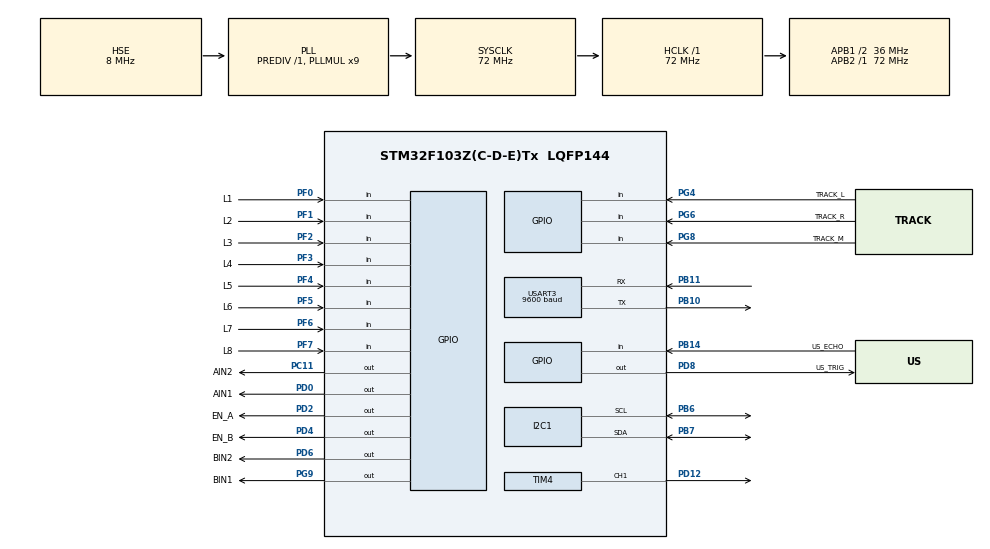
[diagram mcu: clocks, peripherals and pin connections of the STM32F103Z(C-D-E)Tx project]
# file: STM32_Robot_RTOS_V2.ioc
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FREERTOS.Queues01=BluetoothQueue,16,uint8_t,0,Dynamic,NULL,NULL
FREERTOS.Tasks01=Task_Motor,2,256,StartMotorTask,Default,NULL,Dynamic,NULL,NULL;Task_Logic,0,512,StartLogicTask,Default,NULL,Dynamic,NULL,NULL;Task_Com,-1,256,StartComTask,Default,NULL,Dynamic,NULL,NULL
FREERTOS.configTOTAL_HEAP_SIZE=20480
Mcu.Family=STM32F1
Mcu.Name=STM32F103Z(C-D-E)Tx
Mcu.Package=LQFP144
NVIC.PriorityGroup=NVIC_PRIORITYGROUP_4
NVIC.TIM6_IRQn=true\:5\:0\:false\:false\:true\:true\:true\:true\:true
NVIC.TIM7_IRQn=true\:15\:0\:false\:false\:true\:false\:false\:true\:true
NVIC.TimeBase=TIM7_IRQn
NVIC.TimeBaseIP=TIM7
NVIC.USART3_IRQn=true\:5\:0\:false\:false\:true\:true\:true\:true\:true
OSC_IN.Mode=HSE-External-Oscillator
OSC_IN.Signal=RCC_OSC_IN
OSC_OUT.Mode=HSE-External-Oscillator
OSC_OUT.Signal=RCC_OSC_OUT
PA13.Mode=Serial_Wire
PA13.Signal=SYS_JTMS-SWDIO
PA14.Mode=Serial_Wire
PA14.Signal=SYS_JTCK-SWCLK
PB10.Mode=Asynchronous
PB10.Signal=USART3_TX
PB11.Mode=Asynchronous
PB11.Signal=USART3_RX
PB14.GPIO_Label=US_ECHO
PB14.Signal=GPIO_Input
PB6.Mode=I2C
PB6.Signal=I2C1_SCL
PB7.Mode=I2C
PB7.Signal=I2C1_SDA
PC11.GPIO_Label=AIN2
PC11.Signal=GPIO_Output
PD0.GPIO_Label=AIN1
PD0.Signal=GPIO_Output
PD12.Signal=S_TIM4_CH1
PD2.GPIO_Label=EN_A
PD2.Signal=GPIO_Output
PD4.GPIO_Label=EN_B
PD4.Signal=GPIO_Output
PD6.GPIO_Label=BIN2
PD6.Signal=GPIO_Output
PD8.GPIO_Label=US_TRIG
PD8.Signal=GPIO_Output
PF0.GPIO_Label=L1
PF0.GPIO_PuPd=GPIO_PULLUP
PF0.Signal=GPIO_Input
PF1.GPIO_Label=L2
PF1.GPIO_PuPd=GPIO_PULLUP
PF1.Signal=GPIO_Input
PF2.GPIO_Label=L3
PF2.GPIO_PuPd=GPIO_PULLUP
PF2.Signal=GPIO_Input
PF3.GPIO_Label=L4
PF3.GPIO_PuPd=GPIO_PULLUP
PF3.Signal=GPIO_Input
PF4.GPIO_Label=L5
PF4.GPIO_PuPd=GPIO_PULLUP
PF4.Signal=GPIO_Input
PF5.GPIO_Label=L6
PF5.GPIO_PuPd=GPIO_PULLUP
PF5.Signal=GPIO_Input
PF6.GPIO_Label=L7
PF6.GPIO_PuPd=GPIO_PULLUP
PF6.Signal=GPIO_Input
PF7.GPIO_Label=L8
PF7.GPIO_PuPd=GPIO_PULLUP
PF7.Signal=GPIO_Input
PG4.GPIO_Label=TRACK_L
PG4.GPIO_PuPd=GPIO_PULLUP
PG4.Signal=GPIO_Input
PG6.GPIO_Label=TRACK_R
PG6.GPIO_PuPd=GPIO_PULLUP
PG6.Signal=GPIO_Input
PG8.GPIO_Label=TRACK_M
PG8.GPIO_PuPd=GPIO_PULLUP
PG8.Signal=GPIO_Input
PG9.GPIO_Label=BIN1
PG9.Signal=GPIO_Output
ProjectManager.HeapSize=0x200
ProjectManager.StackSize=0x400
ProjectManager.TargetToolchain=MDK-ARM V5.32
RCC.AHBFreq_Value=72000000
RCC.APB1CLKDivider=RCC_HCLK_DIV2
RCC.APB1Freq_Value=36000000
RCC.APB1TimFreq_Value=72000000
RCC.APB2Freq_Value=72000000
RCC.APB2TimFreq_Value=72000000
RCC.HCLKFreq_Value=72000000
RCC.PLLMUL=RCC_PLL_MUL9
RCC.PLLSourceVirtual=RCC_PLLSOURCE_HSE
RCC.SYSCLKFreq_VALUE=72000000
RCC.SYSCLKSource=RCC_SYSCLKSOURCE_PLLCLK
RCC.USBFreq_Value=72000000
SH.S_TIM4_CH1.0=TIM4_CH1,PWM Generation1 CH1
TIM2.Prescaler=71
TIM4.Channel-PWM\ Generation1\ CH1=TIM_CHANNEL_1
TIM4.Period=19999
TIM4.Prescaler=71
TIM6.Period=99
TIM6.Prescaler=71
USART3.BaudRate=9600
USART3.VirtualMode=VM_ASYNC
VP_FREERTOS_VS_CMSIS_V1.Mode=CMSIS_V1
VP_SYS_VS_tim7.Mode=TIM7
VP_TIM2_VS_ClockSourceINT.Mode=Internal
VP_TIM4_VS_ClockSourceINT.Mode=Internal
VP_TIM6_VS_ClockSourceINT.Mode=Enable_Timer
board=custom

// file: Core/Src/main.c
/* USER CODE BEGIN Header */
/**
  ******************************************************************************
  * @file           : main.c
  * @brief          : Main program body
  ******************************************************************************
  */
/* USER CODE END Header */
#include "main.h"
#include "cmsis_os.h"
#include "i2c.h"
#include "tim.h"
#include "usart.h"
#include "gpio.h"

/* USER CODE BEGIN PV */
// 定义 PWM 计数器和速度变量
volatile int pwm_count = 0;    // 计数器 0-100
volatile int speed_left = 0;   // 左轮速度 0-100
volatile int speed_right = 0;  // 右轮速度 0-100
extern volatile int car_mode;
uint8_t rx_data;
/* USER CODE END PV */

void SystemClock_Config(void);
void MX_FREERTOS_Init(void);

int main(void)
{

  /* MCU Configuration--------------------------------------------------------*/
  HAL_Init();

  /* Configure the system clock */
  SystemClock_Config();

  /* Initialize all configured peripherals */
  MX_GPIO_Init();
  MX_I2C1_Init();
  MX_TIM6_Init();
  MX_USART3_UART_Init();
  MX_TIM4_Init();
  MX_TIM2_Init();

  /* USER CODE BEGIN 2 */

  // ==========================================
  // 1. 启动基础定时器和蓝牙
  // ==========================================
  HAL_TIM_Base_Start_IT(&htim6); // 启动电机 SoftPWM 心脏
  HAL_TIM_Base_Start(&htim2);    // 启动超声波秒表
  HAL_UART_Receive_IT(&huart3, &rx_data, 1); // 启动蓝牙接收

  // ==========================================
  // 2. 核心配置：强行设置 PD12 为“复用推挽输出”
  // ==========================================
  __HAL_RCC_GPIOD_CLK_ENABLE();  // 开启 GPIOD 时钟
  __HAL_RCC_AFIO_CLK_ENABLE();   // 开启 AFIO 时钟

  GPIO_InitTypeDef GPIO_InitStruct = {0};
  GPIO_InitStruct.Pin = GPIO_PIN_12;            // 指定 PD12
  GPIO_InitStruct.Mode = GPIO_MODE_AF_PP;       // ⚠️必须是 AF_PP
  GPIO_InitStruct.Speed = GPIO_SPEED_FREQ_HIGH; // 高速模式
  HAL_GPIO_Init(GPIOD, &GPIO_InitStruct);       // 应用配置

  // ==========================================
  // 3. 开启 TIM4 完全重映射并启动 PWM
  // ==========================================
  __HAL_AFIO_REMAP_TIM4_ENABLE();             // 开启重映射
  HAL_TIM_PWM_Start(&htim4, TIM_CHANNEL_1);   // 启动 PWM 信号

  // ==========================================
  // 4. 舵机上电自检 (安全角度版)
  // ==========================================
  __HAL_TIM_SET_COMPARE(&htim4, TIM_CHANNEL_1, 1000);  // 左看
  HAL_Delay(500);
  __HAL_TIM_SET_COMPARE(&htim4, TIM_CHANNEL_1, 2000);  // 右看
  HAL_Delay(500);
  __HAL_TIM_SET_COMPARE(&htim4, TIM_CHANNEL_1, 1500);  // 回正
  HAL_Delay(200);

  // ==========================================
  // 5. 初始化全局变量
  // ==========================================
  speed_left = 0;
  speed_right = 0;
  car_mode = 0; // 默认遥控模式

  // 设置默认电机方向 (往前)
  HAL_GPIO_WritePin(GPIOD, GPIO_PIN_0, GPIO_PIN_SET);    // AIN1
  HAL_GPIO_WritePin(GPIOC, GPIO_PIN_11, GPIO_PIN_RESET); // AIN2
  HAL_GPIO_WritePin(GPIOG, GPIO_PIN_9, GPIO_PIN_SET);    // BIN1
  HAL_GPIO_WritePin(GPIOD, GPIO_PIN_6, GPIO_PIN_RESET);  // BIN2

  /* USER CODE END 2 */

  /* Call init function for freertos objects (in cmsis_os2.c) */
  MX_FREERTOS_Init();

  /* Start scheduler */
  osKernelStart();

  /* We should never get here as control is now taken by the scheduler */

  /* Infinite loop */
  while (1)
  {

  }
}

void SystemClock_Config(void)
{
  RCC_OscInitTypeDef RCC_OscInitStruct = {0};
  RCC_ClkInitTypeDef RCC_ClkInitStruct = {0};

  RCC_OscInitStruct.OscillatorType = RCC_OSCILLATORTYPE_HSE;
  RCC_OscInitStruct.HSEState = RCC_HSE_ON;
  RCC_OscInitStruct.HSEPredivValue = RCC_HSE_PREDIV_DIV1;
  RCC_OscInitStruct.HSIState = RCC_HSI_ON;
  RCC_OscInitStruct.PLL.PLLState = RCC_PLL_ON;
  RCC_OscInitStruct.PLL.PLLSource = RCC_PLLSOURCE_HSE;
  RCC_OscInitStruct.PLL.PLLMUL = RCC_PLL_MUL9;
  if (HAL_RCC_OscConfig(&RCC_OscInitStruct) != HAL_OK)
  {
    Error_Handler();
  }

  RCC_ClkInitStruct.ClockType = RCC_CLOCKTYPE_HCLK|RCC_CLOCKTYPE_SYSCLK
                              |RCC_CLOCKTYPE_PCLK1|RCC_CLOCKTYPE_PCLK2;
  RCC_ClkInitStruct.SYSCLKSource = RCC_SYSCLKSOURCE_PLLCLK;
  RCC_ClkInitStruct.AHBCLKDivider = RCC_SYSCLK_DIV1;
  RCC_ClkInitStruct.APB1CLKDivider = RCC_HCLK_DIV2;
  RCC_ClkInitStruct.APB2CLKDivider = RCC_HCLK_DIV1;

  if (HAL_RCC_ClockConfig(&RCC_ClkInitStruct, FLASH_LATENCY_2) != HAL_OK)
  {
    Error_Handler();
  }
}

/* USER CODE BEGIN 4 */

// 1. 告诉 main.c，队列句柄是在 freertos.c 里定义的
extern osMessageQId BluetoothQueueHandle;

// 2. 串口接收完成回调函数
void HAL_UART_RxCpltCallback(UART_HandleTypeDef *huart)
{
    if(huart->Instance == USART3)
    {
        osMessagePut(BluetoothQueueHandle, rx_data, 0);
        HAL_UART_Receive_IT(&huart3, &rx_data, 1);
    }
}

// 3. 微秒级延时函数
void delay_us(uint16_t us)
{
    __HAL_TIM_SET_COUNTER(&htim2, 0);
    while(__HAL_TIM_GET_COUNTER(&htim2) < us);
}

// 4. 获取距离函数
float Get_Distance(void)
{
    float distance = 0;

    // 1. 发送触发信号
    HAL_GPIO_WritePin(GPIOD, GPIO_PIN_8, GPIO_PIN_SET);
    delay_us(20); // 这里的微秒延时要短，尽量不要用 osDelay
    HAL_GPIO_WritePin(GPIOD, GPIO_PIN_8, GPIO_PIN_RESET);

    // 2. 清零计数器，准备开始
    __HAL_TIM_SET_COUNTER(&htim2, 0);

    // 3. 等待高电平出现 (Echo 变高)
    // 只要计数器还在 500us (约8cm) 以内，就死等高电平
    // 如果超过这个时间还没高电平，说明传感器坏了
    while(HAL_GPIO_ReadPin(GPIOB, GPIO_PIN_14) == GPIO_PIN_RESET)
    {
        if(__HAL_TIM_GET_COUNTER(&htim2) > 500) return 999.0;
    }

    // 4. 重置计数器，开始测量脉宽
    __HAL_TIM_SET_COUNTER(&htim2, 0);

    // 5. 等待高电平结束 (Echo 变低)
    // 🔥🔥 关键修改：用定时器计数值来做超时 🔥🔥
    // 假设定时器是 1us 计数一次。30000us = 30ms。
    // 30ms 大概能测 5米远。如果超过 30ms 还没变低，说明没障碍物。
    while(HAL_GPIO_ReadPin(GPIOB, GPIO_PIN_14) == GPIO_PIN_SET)
    {
        if(__HAL_TIM_GET_COUNTER(&htim2) > 30000) return 999.0; // 30ms 超时返回
    }

    // 6. 计算距离
    uint32_t time_cnt = __HAL_TIM_GET_COUNTER(&htim2);
    distance = time_cnt / 58.8f;

    return distance;
}

// 🔥🔥 电机驱动中断 (心脏跳动逻辑) 🔥🔥
void HAL_TIM_PeriodElapsedCallback(TIM_HandleTypeDef *htim)
{
  if (htim->Instance == TIM7) {
    HAL_IncTick();
  }

// 2. 🔥 电机 SoftPWM 驱动 (修复引脚定义版)
  if (htim->Instance == TIM6)
  {
      pwm_count++;
      if(pwm_count >= 100) pwm_count = 0;

      // === 左电机 (EN_A) ===
      // 使用宏定义 EN_A_Pin，而不是猜的数字
      if(pwm_count < speed_left)
          HAL_GPIO_WritePin(GPIOD, EN_B_Pin, GPIO_PIN_SET);
      else
          HAL_GPIO_WritePin(GPIOD, EN_B_Pin, GPIO_PIN_RESET);

      // === 右电机 (EN_B) ===
      // 使用宏定义 EN_B_Pin
      if(pwm_count < speed_right)
          HAL_GPIO_WritePin(GPIOD, EN_A_Pin, GPIO_PIN_SET);
      else
          HAL_GPIO_WritePin(GPIOD, EN_A_Pin, GPIO_PIN_RESET);
  }
}
/* USER CODE END 4 */

void Error_Handler(void)
{
  __disable_irq();
  while (1)
  {
  }
}

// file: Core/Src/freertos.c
/* USER CODE BEGIN Header */
/**
  ******************************************************************************
  * File Name          : freertos.c
  * Description        : Code for freertos applications
  * Author             : Leilhaofan (Resume Aligned Architecture Version)
  ******************************************************************************
  */
/* USER CODE END Header */

#include "FreeRTOS.h"
#include "task.h"
#include "main.h"
#include "cmsis_os.h"

/* USER CODE BEGIN Includes */
#include <stdio.h>
#include <string.h>
#include "i2c.h"
#include <stdlib.h> // 为了用 atof 和 atoi
/* USER CODE END Includes */

/* USER CODE BEGIN Variables */
extern volatile int speed_left;
extern volatile int speed_right;
extern UART_HandleTypeDef huart3;
extern TIM_HandleTypeDef htim4;
extern float Get_Distance(void);

// === 全局状态 ===
volatile int car_mode = 0;
float global_gyro_offset = 0;

// 🔥🔥 全局调参变量 (蓝牙可改) 🔥🔥
volatile float Kp_Track = 1.1f;
volatile float Kd_Track = 0.2f;
volatile int base_speed = 40;

// ==========================================================
// 【架构设计】: 任务间共享数据 (Logic -> Motor)
// ==========================================================
volatile int shared_tracking_error = 0;   // 循迹误差
volatile float shared_angle_z = 0;        // 陀螺仪角度
volatile float shared_target_heading = 0; // 目标航向

// 控制权覆写标志：当 Logic 任务正在执行耗时的避障转弯时，接管电机控制
volatile int logic_motor_override = 0;
volatile int override_speed_l = 0;
volatile int override_speed_r = 0;
/* USER CODE END Variables */
osThreadId Task_MotorHandle;
osThreadId Task_LogicHandle;
osThreadId Task_ComHandle;
osMessageQId BluetoothQueueHandle;

/* USER CODE BEGIN FunctionPrototypes */
void Servo_Turn(int angle);
void MPU_Init(void);
int16_t MPU_Get_Gyro_Z(void);
void Auto_Turn(float target_angle);
int Get_Tracking_Error(void);
void HAL_Motor_Mapping(int motor_l, int motor_r); // 新增：HAL层映射
/* USER CODE END FunctionPrototypes */

void StartMotorTask(void const * argument);
void StartLogicTask(void const * argument);
void StartComTask(void const * argument);

void MX_FREERTOS_Init(void);

/* GetIdleTaskMemory prototype */
void vApplicationGetIdleTaskMemory( StaticTask_t **ppxIdleTaskTCBBuffer, StackType_t **ppxIdleTaskStackBuffer, uint32_t *pulIdleTaskStackSize );

/* USER CODE BEGIN GET_IDLE_TASK_MEMORY */
static StaticTask_t xIdleTaskTCBBuffer;
static StackType_t xIdleStack[configMINIMAL_STACK_SIZE];

void vApplicationGetIdleTaskMemory( StaticTask_t **ppxIdleTaskTCBBuffer, StackType_t **ppxIdleTaskStackBuffer, uint32_t *pulIdleTaskStackSize )
{
  *ppxIdleTaskTCBBuffer = &xIdleTaskTCBBuffer;
  *ppxIdleTaskStackBuffer = &xIdleStack[0];
  *pulIdleTaskStackSize = configMINIMAL_STACK_SIZE;
}
/* USER CODE END GET_IDLE_TASK_MEMORY */

void MX_FREERTOS_Init(void) {

  // [简历对标]：利用消息队列实现指令解耦
  osMessageQDef(BluetoothQueue, 16, uint8_t);
  BluetoothQueueHandle = osMessageCreate(osMessageQ(BluetoothQueue), NULL);

  // [简历对标]：构建三层任务架构
  // 1. 驱动/控制任务 (High Priority) - 确保 10ms 硬实时
  osThreadDef(Task_Motor, StartMotorTask, osPriorityHigh, 0, 256);
  Task_MotorHandle = osThreadCreate(osThread(Task_Motor), NULL);

  // 2. 逻辑/感知任务 (Normal Priority) - 处理传感器与决策
  osThreadDef(Task_Logic, StartLogicTask, osPriorityNormal, 0, 1024);
  Task_LogicHandle = osThreadCreate(osThread(Task_Logic), NULL);

  // 3. 通信任务 (Below Normal Priority) - 解析蓝牙
  osThreadDef(Task_Com, StartComTask, osPriorityBelowNormal, 0, 256);
  Task_ComHandle = osThreadCreate(osThread(Task_Com), NULL);
}

/* USER CODE BEGIN Header_StartMotorTask */
/**
  * @brief  驱动层任务 (Motor Task)
  * [简历对标]：确保 10ms 运动控制周期的硬实时响应
  */
/* USER CODE END Header_StartMotorTask */
void StartMotorTask(void const * argument)
{
  /* USER CODE BEGIN StartMotorTask */
  // 使用 FreeRTOS 原生绝对延时变量
  TickType_t xLastWakeTime;
  const TickType_t xFrequency = pdMS_TO_TICKS(10); // 严格 10ms 周期

  int last_tracking_error = 0;
  float Kp_Obstacle = 2.0f; // 避障模式直行纠偏

  // 初始化上次唤醒时间
  xLastWakeTime = xTaskGetTickCount();

  for(;;)
  {
      // --- A. 检查控制权是否被 Logic 任务接管 ---
      if (logic_motor_override == 1)
      {
          HAL_Motor_Mapping(override_speed_l, override_speed_r);
      }
      // --- B. 正常闭环控制逻辑 ---
      else
      {
          if (car_mode == 1)
          {
              // [模式1] 避障：基于陀螺仪走直线
              float error = shared_angle_z - shared_target_heading;
              int turn_adjust = (int)(error * Kp_Obstacle);

              int motor_l = 50 - turn_adjust;
              int motor_r = 50 + turn_adjust;

              HAL_Motor_Mapping(motor_l, motor_r);
          }
          else if (car_mode == 2)
          {
              // [模式2] 循迹：[简历对标] PD闭环结合非线性死区穿越补偿
              int current_error = shared_tracking_error;

              // 1. PD 计算
              int pid_out = (int)(Kp_Track * current_error + Kd_Track * (current_error - last_tracking_error));
              last_tracking_error = current_error;

              // 2. 计算速度
              int motor_l = base_speed - pid_out;
              int motor_r = base_speed + pid_out;

              // 3. 非线性死区穿越补偿 (Dead-zone compensation)
              int dead_zone = 25;
              int violent_kick = -35; // 强行越过电机静摩擦力死区

              if (motor_l < dead_zone && motor_l > -dead_zone) motor_l = violent_kick;
              if (motor_r < dead_zone && motor_r > -dead_zone) motor_r = violent_kick;

              // 4. 执行映射
              HAL_Motor_Mapping(motor_l, motor_r);
          }
          else if (car_mode == 0 || car_mode == 3 || car_mode == 4)
          {
               // 其他模式的动作由 Logic 覆写，这里保持0输出
               HAL_Motor_Mapping(0, 0);
          }
      }

      // [核心高光]：条件编译保证完美兼容
      // 如果 CubeMX 中启用了 vTaskDelayUntil (INCLUDE_vTaskDelayUntil == 1)，则使用绝对硬实时
      // 否则回退到普通的 osDelay() 软实时，防止编译报错 "Undefined symbol"
#if (INCLUDE_vTaskDelayUntil == 1)
      vTaskDelayUntil(&xLastWakeTime, xFrequency);
#else
      osDelay(10);
#endif
  }
  /* USER CODE END StartMotorTask */
}

/* USER CODE BEGIN Header_StartLogicTask */
/**
  * @brief 逻辑感知任务 (Logic Task)
  * [简历对标]：采用重心法处理传感器数据，决策自动避障
  */
/* USER CODE END Header_StartLogicTask */
void StartLogicTask(void const * argument)
{
  /* USER CODE BEGIN StartLogicTask */

  // 避障模式变量
  volatile float dis_front = 0, dis_left = 0, dis_right = 0;
  float safe_distance = 15.0f;

  // 时间积分变量
  uint32_t last_tick = 0, now_tick = 0;
  float dt = 0;

  // 1. 初始化传感器
  MPU_Init();
  osDelay(500);

  char msg[64] = "System Ready! Calibrating...\r\n";
  HAL_UART_Transmit(&huart3, (uint8_t*)msg, strlen(msg), 100);

  // 陀螺仪校准
  float sum = 0;
  for(int i = 0; i < 100; i++) {
      sum += MPU_Get_Gyro_Z();
      osDelay(5);
  }
  global_gyro_offset = sum / 100.0f;

  last_tick = HAL_GetTick();

  for(;;)
  {
      // --- 1. 更新传感器数据 (陀螺仪积分) ---
      int16_t gyro_z_raw = MPU_Get_Gyro_Z();
      float gyro_z_corrected = gyro_z_raw - global_gyro_offset;
      if(gyro_z_corrected > -50 && gyro_z_corrected < 50) gyro_z_corrected = 0;

      now_tick = HAL_GetTick();
      dt = (now_tick - last_tick) / 1000.0f;
      last_tick = now_tick;
      if(dt > 0.1f) dt = 0.01f;

      shared_angle_z += (gyro_z_corrected / 131.0f) * dt;

      // --- 2. 状态机决策 ---
      if (car_mode == 1) // 自动避障
      {
          dis_front = Get_Distance(); // 内部含超时保险丝

          if (dis_front > 25.0f) {
              logic_motor_override = 0; // 释放控制权给 Motor 任务的 PD 算法
          } else {
              // 遇到障碍：开启 Override，接管电机控制
              logic_motor_override = 1;
              override_speed_l = 0; override_speed_r = 0;
              osDelay(500);

              // 摇头侦察 (调用相对延时，Motor任务依然在后台10ms运行，只是输出为0)
              Servo_Turn(160); osDelay(600); dis_left = Get_Distance();
              Servo_Turn(20);  osDelay(600); dis_right = Get_Distance();
              Servo_Turn(90);  osDelay(300);

              if (dis_left < safe_distance && dis_right < safe_distance) {
                  // 死胡同退后
                  override_speed_l = -50; override_speed_r = -50; osDelay(500);
                  override_speed_l = 0;   override_speed_r = 0;   osDelay(200);
                  Auto_Turn(-90.0f);
                  shared_angle_z -= 90.0f; shared_target_heading -= 90.0f;
              }
              else if (dis_left > dis_right) {
                  Auto_Turn(90.0f);
                  shared_angle_z += 90.0f; shared_target_heading += 90.0f;
              } else {
                  Auto_Turn(-90.0f);
                  shared_angle_z -= 90.0f; shared_target_heading -= 90.0f;
              }
              last_tick = HAL_GetTick(); // 重置时间
          }
      }
      else if (car_mode == 2) // PID循迹
      {
          logic_motor_override = 0; // 控制权交给 Motor 任务
          // [简历对标]：采用重心法处理传感器数据
          shared_tracking_error = Get_Tracking_Error();
      }

      // Logic任务只负责决策更新，延时随意，不影响底层硬实时
      osDelay(10);
  }
  /* USER CODE END StartLogicTask */
}

/* USER CODE BEGIN Header_StartComTask */
/* [简历对标]：利用消息队列实现指令解耦 */
/* USER CODE END Header_StartComTask */
void StartComTask(void const * argument)
{
  /* USER CODE BEGIN StartComTask */
  uint8_t rx_byte;
  osEvent evt;
  static char cmd_buffer[20];
  static int cmd_index = 0;
  char echo_msg[64]; // 恢复变量用于串口反馈

  for(;;)
  {
    // 阻塞等待消息队列
    evt = osMessageGet(BluetoothQueueHandle, osWaitForever);
    if (evt.status == osEventMessage)
    {
        rx_byte = (uint8_t)evt.value.v;

        // 1. 单字符指令
        switch (rx_byte)
        {
            case 'A': car_mode = 1; break;
            case 'M': car_mode = 0; logic_motor_override = 1; override_speed_l=0; override_speed_r=0; break;
            case 'T': car_mode = 2; break;
            case 'S': if(car_mode==0) { override_speed_l=0; override_speed_r=0; } break;
            case 'G': if(car_mode==0) { override_speed_l=50; override_speed_r=50; } break;
            case 'B': if(car_mode==0) { override_speed_l=-50; override_speed_r=-50; } break;
            case 'L': if(car_mode==0) { override_speed_l=0; override_speed_r=60; } break;
            case 'R': if(car_mode==0) { override_speed_l=60; override_speed_r=0; } break;
            case 'U': Servo_Turn(160); break;
            case 'I': Servo_Turn(90); break;
            case 'O': Servo_Turn(20); break;
        }

        // 2. 调参指令解析 (解决 echo_msg 报错并增加蓝牙数据回传反馈)
        if (rx_byte == '#' || rx_byte == '\n') {
            cmd_buffer[cmd_index] = '\0';
            if (cmd_buffer[0] == 'P' || cmd_buffer[0] == 'p') {
                Kp_Track = atof(&cmd_buffer[1]);
                sprintf(echo_msg, "Set P = %.2f OK\r\n", Kp_Track);
                HAL_UART_Transmit(&huart3, (uint8_t*)echo_msg, strlen(echo_msg), 100);
            }
            else if (cmd_buffer[0] == 'D' || cmd_buffer[0] == 'd') {
                Kd_Track = atof(&cmd_buffer[1]);
                sprintf(echo_msg, "Set D = %.2f OK\r\n", Kd_Track);
                HAL_UART_Transmit(&huart3, (uint8_t*)echo_msg, strlen(echo_msg), 100);
            }
            else if (cmd_buffer[0] == 'V' || cmd_buffer[0] == 'v') {
                base_speed = atoi(&cmd_buffer[1]);
                sprintf(echo_msg, "Set Speed = %d OK\r\n", base_speed);
                HAL_UART_Transmit(&huart3, (uint8_t*)echo_msg, strlen(echo_msg), 100);
            }
            cmd_index = 0; memset(cmd_buffer, 0, 20);
        } else {
            if (rx_byte != 'A' && rx_byte != 'M' && rx_byte != 'T' && rx_byte != 'S' && rx_byte != 'G' && rx_byte != '\r') {
                if (cmd_index < 19) cmd_buffer[cmd_index++] = rx_byte;
            }
        }
    }
  }
  /* USER CODE END StartComTask */
}

/* USER CODE BEGIN 4 */

/**
 * @brief [简历对标]：通过 HAL 层映射实现软件级通道互换以修正硬件接线错误
 */
void HAL_Motor_Mapping(int motor_l, int motor_r)
{
    // 1. 安全限幅
    if(motor_l > 90) motor_l = 90; if(motor_l < -90) motor_l = -90;
    if(motor_r > 90) motor_r = 90; if(motor_r < -90) motor_r = -90;

    // 2. 软件级通道映射 (解决硬件排线接反问题)
    // 假设原本设计：L控制AIN，R控制BIN。
    // 硬件接线时：L接到了BIN，R接到了AIN。
    // 这里利用软件解耦，将逻辑信号重定向到正确的物理引脚。

    // --- 逻辑左轮 映射到 物理BIN (G9/D6) ---
    if(motor_l >= 0) {
        HAL_GPIO_WritePin(GPIOG, GPIO_PIN_9, GPIO_PIN_SET);   // 正转
        HAL_GPIO_WritePin(GPIOD, GPIO_PIN_6, GPIO_PIN_RESET);
        speed_left = motor_l; // 传入全局变量给 SoftPWM
    } else {
        HAL_GPIO_WritePin(GPIOG, GPIO_PIN_9, GPIO_PIN_RESET); // 反转
        HAL_GPIO_WritePin(GPIOD, GPIO_PIN_6, GPIO_PIN_SET);
        speed_left = -motor_l;
    }

    // --- 逻辑右轮 映射到 物理AIN (D0/C11) ---
    if(motor_r >= 0) {
        HAL_GPIO_WritePin(GPIOD, GPIO_PIN_0, GPIO_PIN_SET);    // 正转
        HAL_GPIO_WritePin(GPIOC, GPIO_PIN_11, GPIO_PIN_RESET);
        speed_right = motor_r;
    } else {
        HAL_GPIO_WritePin(GPIOD, GPIO_PIN_0, GPIO_PIN_RESET);  // 反转
        HAL_GPIO_WritePin(GPIOC, GPIO_PIN_11, GPIO_PIN_SET);
        speed_right = -motor_r;
    }
}

// ============================================
// 下方保留原有的基础函数 (舵机、MPU、重心法、转弯等)
// ============================================

void Servo_Turn(int angle)
{
    if(angle < 10) angle = 10;
    if(angle > 170) angle = 170;
    int pwm_val = 500 + (angle * 2000 / 180);
    __HAL_TIM_SET_COMPARE(&htim4, TIM_CHANNEL_1, pwm_val);
}

void MPU_Init(void)
{
    uint8_t data = 0x00;
    HAL_I2C_Mem_Write(&hi2c1, 0xD0, 0x6B, I2C_MEMADD_SIZE_8BIT, &data, 1, 100);
}

int16_t MPU_Get_Gyro_Z(void)
{
    uint8_t data[2] = {0, 0};
    HAL_StatusTypeDef status = HAL_I2C_Mem_Read(&hi2c1, 0xD0, 0x47, I2C_MEMADD_SIZE_8BIT, data, 2, 10);
    if (status != HAL_OK)
    {
        HAL_I2C_DeInit(&hi2c1); HAL_I2C_Init(&hi2c1); return 0;
    }
    return (data[0] << 8) | data[1];
}

void Auto_Turn(float target_angle)
{
    float accumulated_angle = 0;
    float dt = 0;
    uint32_t last_tick = HAL_GetTick();
    float target_abs = (target_angle > 0) ? target_angle : -target_angle;

    // [简历对标]：软件保险丝机制 (Timeout) 防止任务死锁
    uint32_t start_time = HAL_GetTick();

    float stop_offset = 35.0f;
    if (target_abs < stop_offset) stop_offset = 0;

    int current_speed = 60;

    // 接管控制权，直接调用映射函数
    logic_motor_override = 1;

    if(target_angle > 0) {
        override_speed_l = -current_speed; override_speed_r = current_speed; // 左转
    } else {
        override_speed_l = current_speed; override_speed_r = -current_speed; // 右转
    }

    while(accumulated_angle < (target_abs - stop_offset))
    {
        // Timeout 保护：2000ms 强制退出
        if ((HAL_GetTick() - start_time) > 2000) break;

        int16_t gyro = MPU_Get_Gyro_Z();
        float speed = gyro - global_gyro_offset;
        if(speed > -50 && speed < 50) speed = 0;

        uint32_t now_tick = HAL_GetTick();
        dt = (now_tick - last_tick) / 1000.0f;
        last_tick = now_tick;
        if(dt > 0.1f) dt = 0.01f;

        float angle_step = (speed / 131.0f) * dt;
        if(angle_step < 0) angle_step = -angle_step;
        accumulated_angle += angle_step;

        // 减速缓冲
        if ((target_abs - accumulated_angle) < 40.0f) {
            override_speed_l = (target_angle > 0) ? -40 : 40;
            override_speed_r = (target_angle > 0) ? 40 : -40;
        }

        osDelay(5);
    }

    override_speed_l = 0; override_speed_r = 0;
    osDelay(800);
}

// [简历对标]：重心法处理传感器数据
int Get_Tracking_Error(void)
{
    uint8_t sensor = (uint8_t)(GPIOF->IDR & 0x00FF);
    static int last_known_error = 0;

    int error_sum = 0;
    int sensor_count = 0;

    if (sensor & 0x01) { error_sum -= 40; sensor_count++; }
    if (sensor & 0x02) { error_sum -= 30; sensor_count++; }
    if (sensor & 0x04) { error_sum -= 20; sensor_count++; }
    if (sensor & 0x08) { error_sum -= 10; sensor_count++; }
    if (sensor & 0x10) { error_sum += 10; sensor_count++; }
    if (sensor & 0x20) { error_sum += 20; sensor_count++; }
    if (sensor & 0x40) { error_sum += 30; sensor_count++; }
    if (sensor & 0x80) { error_sum += 40; sensor_count++; }

    if (sensor_count == 0) return last_known_error;

    int final_error = error_sum / sensor_count; // 求重心
    last_known_error = final_error;
    return final_error;
}
/* USER CODE END 4 */
